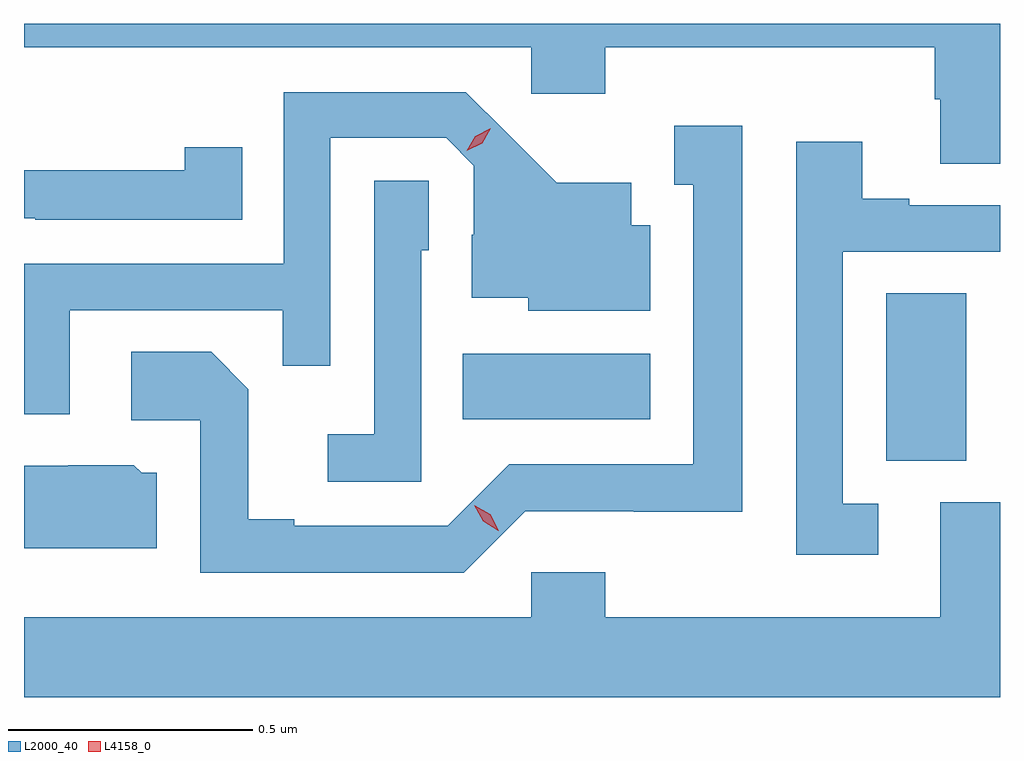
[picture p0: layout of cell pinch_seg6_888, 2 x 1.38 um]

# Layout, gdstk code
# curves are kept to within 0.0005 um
import gdstk
lib = gdstk.Library(unit=1e-6, precision=1e-09)
def R(c, l, rs):  # rectangles x0, y0, x1, y1
    for r in rs: c.add(gdstk.rectangle(r[:2], r[2:], *l))
def P(c, l, *ps):  # polygons
    for p in ps: c.add(gdstk.Polygon(p, *l))
L2000_40 = (2000, 40)
L4158_0 = (4158, 0)

pinch_seg6_888 = lib.new_cell('pinch_seg6_888')
R(pinch_seg6_888, L2000_40, [(161.324,979.789,161.488,980.132), (160.456,979.874,160.84,980.008)])
P(pinch_seg6_888, L2000_40, [(161.557,980.685),(159.557,980.685),(159.557,980.636),(160.596,980.636),(160.596,980.541),(160.748,980.541),(160.748,980.636),(161.423,980.636),(161.423,980.53),(161.435,980.53),(161.435,980.398),(161.557,980.398)],
  [(159.651,980.097),(160.087,980.097),(160.087,979.984),(160.185,979.984),(160.185,980.451),(160.422,980.451),(160.479,980.394),(160.479,980.252),(160.475,980.252),(160.475,980.123),(160.59,980.123),(160.59,980.096),(160.84,980.096),(160.84,980.272),(160.801,980.272),(160.801,980.359),(160.649,980.359),(160.462,980.544),(160.089,980.544),(160.089,980.193),(159.557,980.193),(159.557,979.884),(159.651,979.884)],
  [(160.584,979.686),(160.806,979.686),(160.806,979.685),(161.029,979.685),(161.029,980.476),(160.889,980.476),(160.889,980.355),(160.928,980.355),(160.928,979.782),(160.551,979.782),(160.425,979.656),(160.111,979.656),(160.111,979.669),(160.017,979.669),(160.017,979.936),(159.941,980.012),(159.777,980.012),(159.777,979.872),(159.918,979.872),(159.918,979.56),(160.458,979.56)],
  [(161.308,979.701),(161.235,979.701),(161.235,980.217),(161.557,980.217),(161.557,980.313),(161.371,980.313),(161.371,980.326),(161.275,980.326),(161.275,980.443),(161.139,980.443),(161.139,979.596),(161.308,979.596)],
  [(160.004,980.431),(159.886,980.431),(159.886,980.384),(159.557,980.384),(159.557,980.286),(159.58,980.286),(159.58,980.283),(160.004,980.283)],
  [(160.371,980.22),(160.386,980.22),(160.386,980.363),(160.275,980.363),(160.275,979.843),(160.179,979.843),(160.179,979.746),(160.371,979.746)],
  [(159.829,979.764),(159.798,979.764),(159.782,979.78),(159.648,979.78),(159.648,979.779),(159.557,979.779),(159.557,979.61),(159.829,979.61)],
  [(161.557,979.704),(161.435,979.704),(161.435,979.468),(160.748,979.468),(160.748,979.561),(160.596,979.561),(160.596,979.468),(159.557,979.468),(159.557,979.304),(161.557,979.304)])
P(pinch_seg6_888, L4158_0, [(160.529,979.646),(160.498,979.665),(160.48,979.698),(160.48,979.698),(160.48,979.698),(160.512,979.679),(160.53,979.646),(160.53,979.646)],
  [(160.464,980.424),(160.464,980.424),(160.482,980.454),(160.513,980.47),(160.513,980.47),(160.513,980.47),(160.496,980.44),(160.464,980.424)])

lib.write_gds('pinch_seg6_888.gds')
